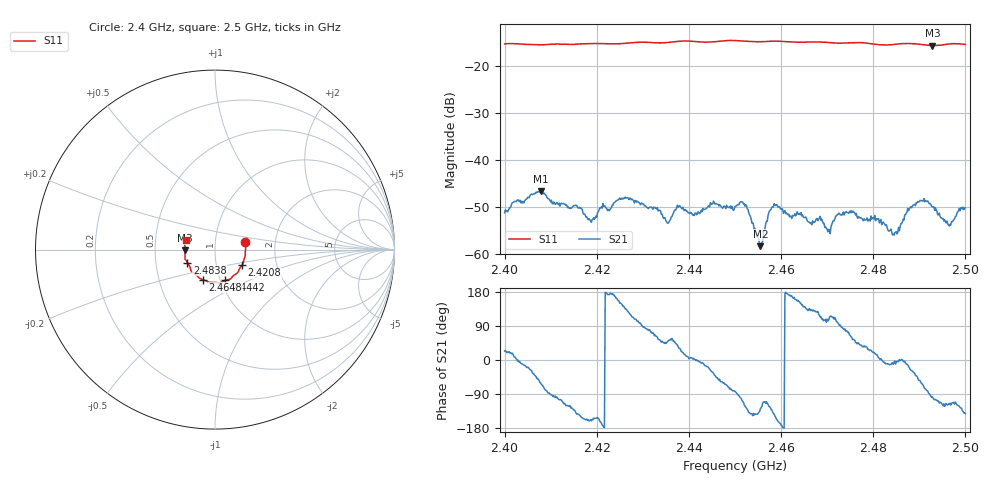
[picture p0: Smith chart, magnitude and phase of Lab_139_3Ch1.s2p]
# Hz S RI R 50
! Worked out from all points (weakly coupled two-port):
!   601 points, 2.4 GHz to 2.5 GHz, reference 50 ohm
!   highest |S21| = -46.62 dB at 2.4078 GHz (marker M1); lowest = -58.4 dB at 2.4555 GHz (marker M2)
!   lowest |S11| = -15.6 dB at 2.4928 GHz (marker M3), VSWR 1.40, Z = 35.8 - j0.342 ohm
!   |S11| at or under -10 dB: start of sweep to end of sweep
!   S12 and S22 are empty: the file has one direction only
!   S11 on the Smith chart (normalised r, x): 2.4 GHz: 1.40, +0.12; 2.4208 GHz: 1.33, -0.24; 2.4442 GHz: 1.05, -0.37; 2.4648 GHz: 0.83, -0.29; 2.4838 GHz: 0.73, -0.11; 2.5 GHz: 0.72, +0.08
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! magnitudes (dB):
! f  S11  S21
! 2.4 GHz  -15.3  -51.2
! 2.4078 GHz  -15.4  -46.6
! 2.4167 GHz  -15.2  -50.4
! 2.4187 GHz  -15.2  -53.0
! 2.4208 GHz  -15.2  -50.2
! 2.4333 GHz  -15.0  -50.9
! 2.4355 GHz  -14.9  -53.4
! 2.4442 GHz  -14.9  -49.8
! 2.45 GHz  -14.5  -49.9
! 2.4522 GHz  -14.7  -49.8
! 2.4555 GHz  -14.8  -58.4
! 2.4585 GHz  -14.7  -49.3
! 2.4648 GHz  -14.9  -52.2
! 2.4667 GHz  -14.8  -53.8
! 2.4703 GHz  -15.0  -54.8
! 2.4753 GHz  -15.0  -50.8
! 2.4833 GHz  -15.5  -55.2
! 2.4838 GHz  -15.4  -54.7
! 2.4898 GHz  -15.3  -48.9
! 2.4928 GHz  -15.6  -49.9
! 2.4963 GHz  -15.3  -53.9
! 2.5 GHz  -15.4  -50.2
